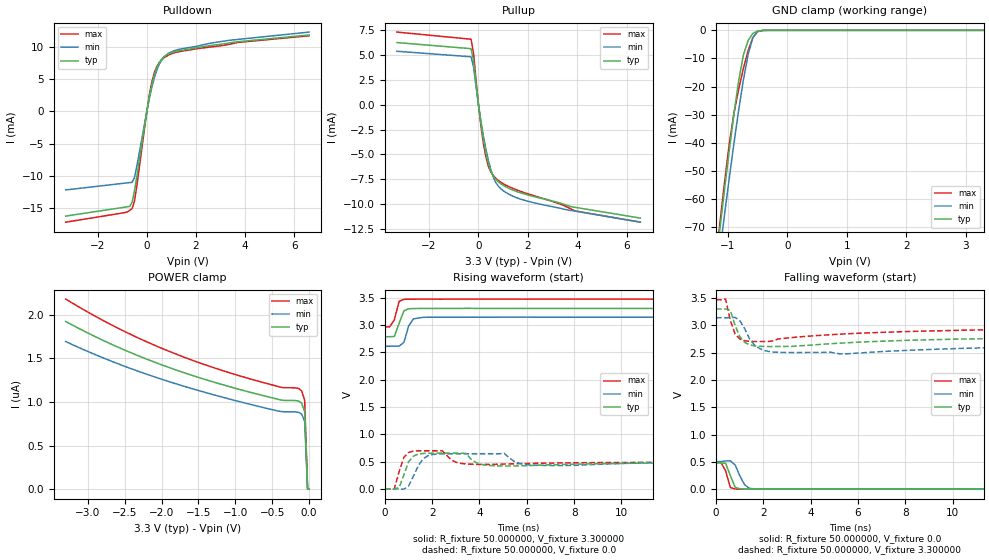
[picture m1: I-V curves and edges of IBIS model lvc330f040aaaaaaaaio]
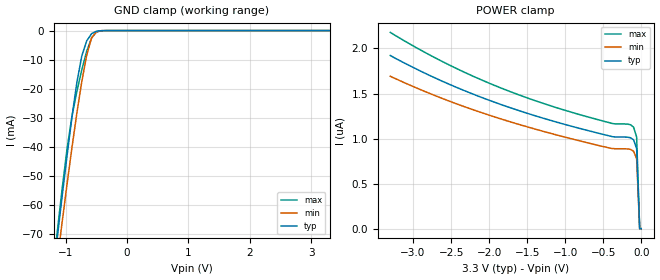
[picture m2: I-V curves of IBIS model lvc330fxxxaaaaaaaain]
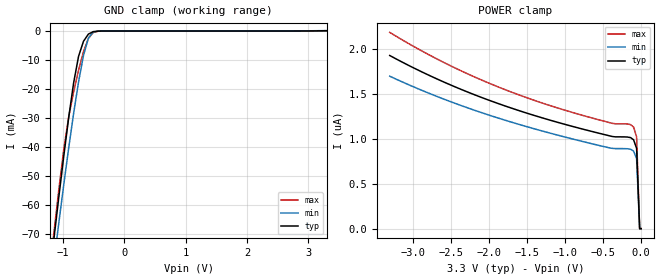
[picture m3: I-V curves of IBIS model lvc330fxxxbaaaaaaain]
| IBIS Models Generator: Lattice Diamond (64-bit) 3.12.1.454
| Generate date: Sun Aug 20 05:55:46 2023
| IBIS File machxo.ibs
| LibisGen v2.0.1.0, 02/25/2008, Lattice Semiconductor Corporation
| Modified by LibisMaker v2.0.1.0, 02/25/2008, Lattice Semiconductor
| North Carolina State University, ERL, 2006
[IBIS ver]   3.2
[File Name]   RAM2GS_LCMXO256C_im~.ibs
[File Rev]   2.2
[Date]   Mon Sep 28 10:44:10 EDT 2009
[Source]   Lattice Semiconductor EE12 Process
[Notes]   "Preliminary Version"
   Lattice Semiconductor has worked hard to ensure the
   models below are accurate and complete.  However, the
   data below was generated using simulation of the
   input/output model files for the silicon.  Therefore,
   the data below is for reference and initial design
   purposes only.
   The data below is correlated to Spice models.
   For questions regarding this data please contact
   us at www.latticesemi.com.
   Lattice Semiconductor grants permission to use this
   data for use in printed circuit design using this
   Lattice programmable logic device.  Other use of this
   code, including the selling or duplication of any
   portion is strictly prohibited.
|   NAMING CONVENTION
   The IBIS [Model] header is limited by the specification to a
   total of characters.  With such a set of characters available
   for naming models it becomes important to attempt to
   meaningfully encode the IO standards so they fit within the
   twenty character limit.  It would seem that twenty characters
   would provide room enough for describing IO's.  However, the
   PLD IO structure continues to grow more and more complex.  The
   complexity is making the twenty characters insuffiently
   descriptive.  In order to overcome this issue the naming
   convention described below is implemented to resolve the issue.
The twenty character space is managed as follows:
   bbbvvvsdddprugtcoixx
   b = standard
   v = voltage (x.xx V)
   s = slew code
   d = drive (xx.x ma)
   p = pullup code
   r = series resistance code
   u = terminate to vcc code
   g = terminate to gnd code
   t = terminate to vtt code
   c = common mode termination mode
   o = diff resistor code
   i = diff resistor current code
   x = reserved
   standard
   LVCMOS   lvc
   lvcmosd   lvd
   LVDSE   lve
   LVTTL   lvt
   lvttld   ltd
   PCI   pci
   pcix   pcx
   AGP1x   ag1
   agp2x   ag2
   sstl_I   ss1
   sstl_II   ss2
   sstld_I   s1d
   sstld_II   s2d
   CTT   ctt
   hstl_i   hs1
   hstl_ii   hs2
   hstl_iii   hs3
   hstl_iv   hs4
   hstld_i   h1d
   hstld_ii   h2d
   gtl   gtl
   gtlplus   gtp
   lvds   lvs
   blvds   blv
   mlvds   mlv
   lvpecl   lvp
   cml   cml
   hypt   hyp
   rsds   rsd
   vref1   vr1
   vref2   vr2
   ref_res   rer
   slew
   na   a
   fast   f
   slow   s
   pullmode
   off   a
   pullup   b
   pulldown   c
   bushold   d
   pciclamp   e
   up_pciclamp   f
   down_pciclamp   g
   keeper_pciclamp   h
   schmitt   i
   up_schmitt   j
   down_schmitt   k
   keeper_schmitt   l
   up_pciclamp_schmitt   m
   down_pciclamp_schmitt   n
   keeper_pciclamp_schmitt  o
   pciclamp_schmitt   p
   impedence
   off   a
   25   b
   33   c
   50   d
   100   e
   termVCC
   off   a
   50   b
   100   c
   120   d
   termGND
   off   a
   50   b
   100   c
   120   d
   termVTT
   off   a
   60   b
   75   c
   120   d
   150   e
   210   f
   VCMT
   off   a
   VCMT   b
   VTT   c
   DDR-2   d
   differential resistor
   off   a
   120   b
   150   c
   220   d
   420   e
   differential current
   NA   a
   2   b
   3.5   c
   4   d
   6   e
   Reserved   IO type
   in   input only
   ou   output
   io   I/O
   od   Open drain
   on   Inverting differential I/O
   (signal name only)
   op   Non-Inverting differential I/O
   (signal name only)
   All the IO models are generated with pull mode set to UP.
   Lattice Semiconductor Corporation
   5555 NE Moore Court
   Hillsboro, OR 97214
   U.S.A
   TEL: 1-800-Lattice (USA and Canada)
   408-826-6000 (other locations)
   web: http://www.latticesemi.com/
   email: techsupport@latticesemi.com
[Disclaimer] This IBIS source code is intended as a design reference
   which illustrates how the Lattice Semiconductor device operates.
   It is the user's responsibility to verify their design for
   consistency and functionality through the use of formal
   verification methods.  Lattice Semiconductor provides no warranty
   regarding the use or functionality of this data.
[Copyright]   Copyright 2009 by Lattice Semiconductor Corporation
|   Component XO
[Component]   MXO256_MXO640_MXO1K_MXO2K
[Manufacturer]   Lattice Semiconductor Corp.
[Package]
|TQFP100
| variable   typ   min   max
R_pkg   70.5m   54.0m   87.0m
L_pkg   4.57nH   4.27nH   4.87nH
C_pkg   .52pF   .47pF   .57pF
[Pin] signal_name   model_name   R_pin   L_pin   C_pin
32   CROW[0]   lvc330fxxxaaaaaaaain
34   CROW[1]   lvc330fxxxaaaaaaaain
21   Din[0]   lvc330fxxxaaaaaaaain
15   Din[1]   lvc330fxxxaaaaaaaain
14   Din[2]   lvc330fxxxaaaaaaaain
16   Din[3]   lvc330fxxxaaaaaaaain
18   Din[4]   lvc330fxxxaaaaaaaain
17   Din[5]   lvc330fxxxaaaaaaaain
20   Din[6]   lvc330fxxxaaaaaaaain
19   Din[7]   lvc330fxxxaaaaaaaain
1   Dout[0]   lvc330f040aaaaaaaaio
7   Dout[1]   lvc330f040aaaaaaaaio
8   Dout[2]   lvc330f040aaaaaaaaio
6   Dout[3]   lvc330f040aaaaaaaaio
4   Dout[4]   lvc330f040aaaaaaaaio
5   Dout[5]   lvc330f040aaaaaaaaio
2   Dout[6]   lvc330f040aaaaaaaaio
3   Dout[7]   lvc330f040aaaaaaaaio
57   LED   lvc330s140aaaaaaaaio
23   MAin[0]   lvc330fxxxaaaaaaaain
38   MAin[1]   lvc330fxxxaaaaaaaain
37   MAin[2]   lvc330fxxxaaaaaaaain
47   MAin[3]   lvc330fxxxaaaaaaaain
46   MAin[4]   lvc330fxxxaaaaaaaain
45   MAin[5]   lvc330fxxxaaaaaaaain
49   MAin[6]   lvc330fxxxaaaaaaaain
44   MAin[7]   lvc330fxxxaaaaaaaain
50   MAin[8]   lvc330fxxxaaaaaaaain
51   MAin[9]   lvc330fxxxaaaaaaaain
39   PHI2   lvc330fxxxcaaaaaaain
98   RA[0]   lvc330s040aaaaaaaaio
87   RA[10]   lvc330s040aaaaaaaaio
79   RA[11]   lvc330s040aaaaaaaaio
89   RA[1]   lvc330s040aaaaaaaaio
94   RA[2]   lvc330s040aaaaaaaaio
97   RA[3]   lvc330s040aaaaaaaaio
99   RA[4]   lvc330s040aaaaaaaaio
95   RA[5]   lvc330s040aaaaaaaaio
91   RA[6]   lvc330s040aaaaaaaaio
100   RA[7]   lvc330s040aaaaaaaaio
96   RA[8]   lvc330s040aaaaaaaaio
85   RA[9]   lvc330s040aaaaaaaaio
63   RBA[0]   lvc330s040aaaaaaaaio
83   RBA[1]   lvc330s040aaaaaaaaio
82   RCKE   lvc330s040aaaaaaaaio
86   RCLK   lvc330fxxxaaaaaaaain
76   RDQMH   lvc330s040aaaaaaaaio
61   RDQML   lvc330s040aaaaaaaaio
64   RD[0]   lvc330s040aaaaaaaaio
65   RD[1]   lvc330s040aaaaaaaaio
66   RD[2]   lvc330s040aaaaaaaaio
67   RD[3]   lvc330s040aaaaaaaaio
68   RD[4]   lvc330s040aaaaaaaaio
69   RD[5]   lvc330s040aaaaaaaaio
70   RD[6]   lvc330s040aaaaaaaaio
71   RD[7]   lvc330s040aaaaaaaaio
58   UFMCLK   lvc330s040aaaaaaaaio
56   UFMSDI   lvc330s040aaaaaaaaio
55   UFMSDO   lvc330fxxxaaaaaaaain
27   nCCAS   lvc330fxxxbaaaaaaain
43   nCRAS   lvc330fxxxbaaaaaaain
22   nFWE   lvc330fxxxaaaaaaaain
78   nRCAS   lvc330s040aaaaaaaaio
77   nRCS   lvc330s040aaaaaaaaio
73   nRRAS   lvc330s040aaaaaaaaio
72   nRWE   lvc330s040aaaaaaaaio
53   nUFMCS   lvc330s040aaaaaaaaio
| Models and submodels in the file (6): lvc330f040aaaaaaaaio (I/O), lvc330fxxxaaaaaaaain (Input), lvc330fxxxbaaaaaaain (Input), lvc330fxxxcaaaaaaain (Input), lvc330s040aaaaaaaaio (I/O), lvc330s140aaaaaaaaio (I/O)
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[Model]   lvc330f040aaaaaaaaio
Model_type   I/O
Polarity   Non-Inverting
Enable   Active-Low
Vinl =   0.800000V
Vinh =   2.000000V
Vmeas =   1.650000V
Cref =   0.0F
Rref =   1.000000M
Vref =   0.0V
C_comp   2.68pF   2.54pF   2.92pF
[Temperature Range]   25.000000   0.105000k   -40.000000
[Voltage Range]   3.300000V   3.140000V   3.470000V
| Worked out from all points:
|   slope of the pulldown table from 0 to 0.495 V, typ, clamps not added: 65.9 ohm
|   slope of the pullup table from 0 to 0.495 V, typ, clamps not added: 74.4 ohm
|   GND clamp passes 1 mA (typ) near -0.57 V on its own axis
|   rising waveform, R_fixture 50.000000, V_fixture 3.300000: 20-80 % time 269ps typ, 259ps min, 209ps max; typ from 2.78 V to 3.3 V
|   rising waveform, R_fixture 50.000000, V_fixture 0.0: 20-80 % time 245ps typ, 332ps min, 197ps max; typ from 0 V to 0.479 V
|   falling waveform, R_fixture 50.000000, V_fixture 0.0: 20-80 % time 264ps typ, 336ps min, 223ps max; typ from 0.48 V to 0 V
|   falling waveform, R_fixture 50.000000, V_fixture 3.300000: 20-80 % time 256ps typ, 393ps min, 170ps max; typ from 3.3 V to 2.78 V
[Pulldown]
|Voltage   I(typ)   I(min)   I(max)
-3.3V     -16.26mA   -12.2mA    -17.21mA
-700mV    -14.76mA   -11.06mA   -15.39mA
-600mV    -14.12mA   -11.01mA   -15.09mA
-500mV    -12.31mA   -10.25mA   -13.89mA
-400mV    -9.922mA   -8.354mA   -11.4mA
0V        9.27nA     8.64nA     10.95nA
200mV     4.086mA    3.684mA    4.499mA
400mV     6.738mA    6.352mA    6.93mA
700mV     8.511mA    8.477mA    8.338mA
1.2V      9.34mA     9.543mA    9.202mA
2.7V      10.3mA     10.68mA    10.07mA
6.6V      11.89mA    12.34mA    11.76mA
[Pullup]
|Voltage   I(typ)   I(min)   I(max)
-3.3V     6.26mA     5.385mA    7.315mA
-300mV    5.646mA    4.829mA    6.598mA
-200mV    4.436mA    3.802mA    5.175mA
0V        -6.17nA    -5.46nA    -7.06nA
100mV     -1.893mA   -1.674mA   -2.146mA
200mV     -3.512mA   -3.165mA   -3.901mA
300mV     -4.855mA   -4.471mA   -5.258mA
500mV     -6.695mA   -6.526mA   -6.766mA
800mV     -7.747mA   -8.192mA   -7.615mA
1.7V      -8.86mA    -9.494mA   -8.714mA
3.9V      -10.32mA   -10.71mA   -10.68mA
6.55V     -11.41mA   -11.82mA   -11.81mA
[GND_clamp]
|Voltage   I(typ)   I(min)   I(max)
-3.3V     -966.2mA   -950.5mA   -981.2mA
-1.14V    -71.66mA   -79.64mA   -69.55mA
-1.06V    -57.22mA   -66.14mA   -54.65mA
-980mV    -43.21mA   -53.02mA   -40.87mA
-900mV    -29.92mA   -40.4mA    -29.6mA
-820mV    -17.96mA   -28.51mA   -21.04mA
-740mV    -8.811mA   -17.67mA   -13.57mA
-660mV    -3.585mA   -8.563mA   -7.151mA
-580mV    -1.078mA   -2.529mA   -2.551mA
-500mV    -216.5uA   -395.1uA   -485.3uA
-340mV    -4.48uA    -6.181uA   -4.704uA
3.3V      152nA      1.621uA    132.3nA
[POWER_clamp]
|Voltage   I(typ)   I(min)   I(max)
-3.3V     1.922uA    1.692uA    2.179uA
-2.94V    1.765uA    1.556uA    2.001uA
-2.54V    1.609uA    1.421uA    1.823uA
-1.74V    1.348uA    1.191uA    1.527uA
-1.26V    1.219uA    1.074uA    1.383uA
-700mV    1.089uA    951.8nA    1.24uA
-380mV    1.022uA    889.5nA    1.168uA
-140mV    1.009uA    880.1nA    1.154uA
-100mV    985.5nA    859.3nA    1.126uA
-60mV     890.1nA    776.2nA    1.017uA
-20mV     1.5pA      1.2pA      1.8pA
0V        0A         0A         0A
[Ramp]
| variable   typ   min   max
dV/dt_r  0.287529/0.242724n  0.301503/0.328867n  0.291718/0.195168n
dV/dt_f  0.313320/0.253363n  0.309840/0.389332n  0.311820/0.168025n
R_load = 50.000000
[Rising Waveform]
R_fixture=   50.000000
V_fixture=   3.300000
V_fixture_min=   3.140000
V_fixture_max=   3.470000
|time   V(typ)   V(min)   V(max)
0s        2.783V     2.609V     2.96V
202ps     2.783V     2.609V     2.963V
404ps     2.788V     2.611V     3.091V
606.1ps   3.03V      2.612V     3.431V
808.1ps   3.255V     2.679V     3.466V
1.01ns    3.295V     2.983V     3.469V
1.212ns   3.298V     3.11V      3.47V
1.616ns   3.3V       3.138V     3.47V
5.253ns   3.3V       3.142V     3.47V
20ns      3.3V       3.14V      3.47V
[Rising Waveform]
R_fixture=   50.000000
V_fixture=   0.0
V_fixture_min=   0.0
V_fixture_max=   0.0
|time   V(typ)   V(min)   V(max)
0s        4.226uV    4.92uV     3.956uV
404ps     -1.969mV   5.641uV    966.8uV
606.1ps   23.19mV    -508.5uV   314.6mV
1.01ns    498.3mV    54.79mV    667.3mV
1.414ns   636.8mV    420.6mV    696mV
2.02ns    652.9mV    628.2mV    696.5mV
3.636ns   546.2mV    642.4mV    451.1mV
5.051ns   418.8mV    647.9mV    454.8mV
6.667ns   435.1mV    428.6mV    469.8mV
20ns      479.2mV    502.5mV    486.2mV
[Falling Waveform]
R_fixture=   50.000000
V_fixture=   0.0
V_fixture_min=   0.0
V_fixture_max=   0.0
|time   V(typ)   V(min)   V(max)
0s        479.6mV    504.1mV    486.2mV
202ps     479.6mV    504.1mV    490.5mV
404ps     474.7mV    515.9mV    339.7mV
606.1ps   247.4mV    518.8mV    26.92mV
808.1ps   33.63mV    443.6mV    3.149mV
1.01ns    5.28mV     238.8mV    1.06mV
1.212ns   1.955mV    78.28mV    294.9uV
1.414ns   1.003mV    15.12mV    122uV
1.616ns   281.8uV    5.206mV    54.28uV
20ns      1.68uV     178.2nV    2.054uV
[Falling Waveform]
R_fixture=   50.000000
V_fixture=   3.300000
V_fixture_min=   3.140000
V_fixture_max=   3.470000
|time   V(typ)   V(min)   V(max)
0s        3.3V       3.14V      3.47V
404ps     3.301V     3.139V     3.482V
606.1ps   3.273V     3.14V      3.087V
808.1ps   2.996V     3.146V     2.84V
1.01ns    2.788V     3.081V     2.749V
1.414ns   2.644V     2.756V     2.708V
1.818ns   2.617V     2.581V     2.704V
2.222ns   2.612V     2.523V     2.706V
5.253ns   2.674V     2.477V     2.839V
20ns      2.778V     2.624V     2.95V
[Model]   lvc330fxxxaaaaaaaain
Model_type   Input
Polarity   Non-Inverting
Enable   Active-Low
Vinl =   0.800000V
Vinh =   2.000000V
C_comp   2.68pF   2.54pF   2.92pF
[Temperature Range]   25.000000   0.105000k   -40.000000
[Voltage Range]   3.300000V   3.140000V   3.470000V
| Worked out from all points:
|   GND clamp passes 1 mA (typ) near -0.57 V on its own axis
[GND_clamp]
|Voltage   I(typ)   I(min)   I(max)
-3.3V     -966.2mA   -950.5mA   -981.2mA
-1.14V    -71.66mA   -79.64mA   -69.55mA
-1.06V    -57.22mA   -66.14mA   -54.65mA
-980mV    -43.21mA   -53.02mA   -40.87mA
-900mV    -29.92mA   -40.4mA    -29.6mA
-820mV    -17.96mA   -28.51mA   -21.04mA
-740mV    -8.811mA   -17.67mA   -13.57mA
-660mV    -3.585mA   -8.563mA   -7.151mA
-580mV    -1.078mA   -2.529mA   -2.551mA
-500mV    -216.5uA   -395.1uA   -485.3uA
-340mV    -4.48uA    -6.181uA   -4.704uA
3.3V      152nA      1.621uA    132.3nA
[POWER_clamp]
|Voltage   I(typ)   I(min)   I(max)
-3.3V     1.922uA    1.692uA    2.179uA
-2.94V    1.765uA    1.556uA    2.001uA
-2.54V    1.609uA    1.421uA    1.823uA
-1.74V    1.348uA    1.191uA    1.527uA
-1.26V    1.219uA    1.074uA    1.383uA
-700mV    1.089uA    951.8nA    1.24uA
-380mV    1.022uA    889.5nA    1.168uA
-140mV    1.009uA    880.1nA    1.154uA
-100mV    985.5nA    859.3nA    1.126uA
-60mV     890.1nA    776.2nA    1.017uA
-20mV     1.5pA      1.2pA      1.8pA
0V        0A         0A         0A
[Model]   lvc330fxxxbaaaaaaain
Model_type   Input
Polarity   Non-Inverting
Enable   Active-Low
Vinl =   0.800000V
Vinh =   2.000000V
C_comp   2.68pF   2.54pF   2.92pF
[Temperature Range]   25.000000   0.105000k   -40.000000
[Voltage Range]   3.300000V   3.140000V   3.470000V
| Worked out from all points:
|   GND clamp passes 1 mA (typ) near -0.56 V on its own axis
[GND_clamp]
|Voltage   I(typ)   I(min)   I(max)
-3.3V     -966.2mA   -950.5mA   -981.2mA
-1.14V    -71.67mA   -79.64mA   -69.56mA
-1.06V    -57.22mA   -66.15mA   -54.66mA
-980mV    -43.22mA   -53.02mA   -40.89mA
-900mV    -29.93mA   -40.41mA   -29.65mA
-820mV    -17.98mA   -28.51mA   -21.11mA
-740mV    -8.854mA   -17.68mA   -13.65mA
-660mV    -3.663mA   -8.578mA   -7.238mA
-580mV    -1.172mA   -2.564mA   -2.648mA
-500mV    -318.1uA   -464.4uA   -594.8uA
-340mV    -109.5uA   -92.67uA   -122uA
3.3V      149.5nA    48.45uA    -62.15uA
[POWER_clamp]
|Voltage   I(typ)   I(min)   I(max)
-3.3V     1.925uA    1.695uA    2.182uA
-2.9V     1.752uA    1.546uA    1.986uA
-2.54V    1.612uA    1.424uA    1.827uA
-1.74V    1.351uA    1.194uA    1.531uA
-1.26V    1.222uA    1.077uA    1.386uA
-700mV    1.092uA    955nA      1.244uA
-380mV    1.025uA    892.7nA    1.171uA
-140mV    1.013uA    883.4nA    1.157uA
-100mV    988.7nA    862.5nA    1.13uA
-60mV     893nA      779.1nA    1.02uA
-20mV     1.5pA      1.2pA      1.8pA
0V        0A         0A         0A
